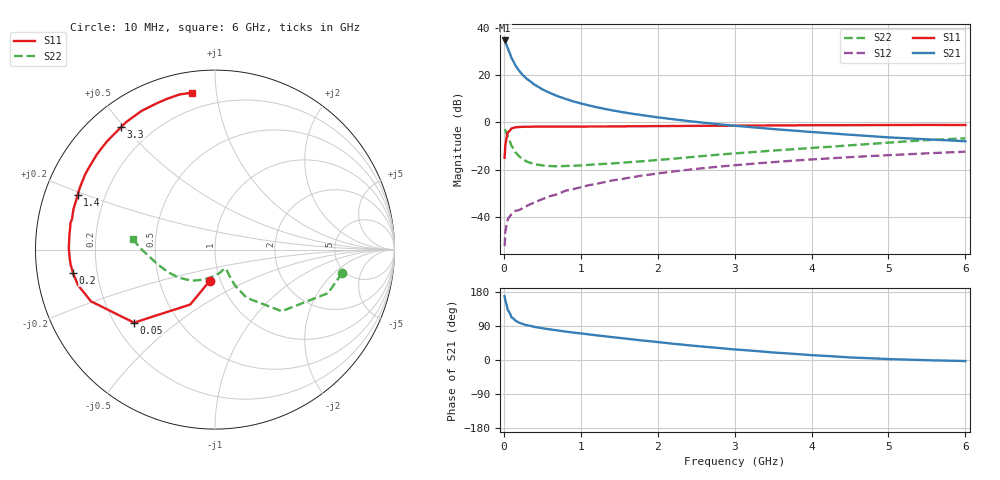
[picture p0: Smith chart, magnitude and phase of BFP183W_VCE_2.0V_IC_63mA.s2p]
! (c) 2017  Infineon Technologies AG, Munich
! Infineon Technologies  Discrete & RF Semiconductors
! BFP183W
! VCE =  2.0 V,  IC =  63 mA
! Common Emitter S-Parameters:  Jan 2017
# GHz  S  MA  R  50
!  f  S11  S21  S12  S22
! GHz  MAG  ANG  MAG  ANG  MAG  ANG  MAG  ANG
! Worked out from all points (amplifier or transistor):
!   77 points, 10 MHz to 6 GHz, reference 50 ohm
!   highest |S21| = 34.7 dB at 10 MHz (marker M1)
!   |S21| within 3 dB of that: start of sweep to 47.18 MHz
!   unconditionally stable (mu >= 1): start of sweep to 17.28 MHz; 230.1 MHz to end of sweep
!   at 130 MHz: K = 0.71, MSG = 31.8 dB, |S12| = -38.0 dB
!   at 2.2 GHz: K = 1.34, MAG = 7.5 dB, |S12| = -20.8 dB
!   at 6 GHz: K = 1.16, MAG = -0.2 dB, |S12| = -12.4 dB
!   S11 on the Smith chart (normalised r, x): 10 MHz: 0.89, -0.32; 50 MHz: 0.28, -0.36; 200 MHz: 0.11, -0.08; 1.4 GHz: 0.10, +0.19; 3.3 GHz: 0.09, +0.49; 6 GHz: 0.11, +0.86
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0.01  0.1787 -99.8  54.48 168.4  0.0024 76.5  0.7198 -10.5
0.02  0.3359 -114.3  51.43 156.5  0.0049 71.7  0.6748 -21.1
0.05  0.6072 -137.9  37.56 131.9  0.0088 51.1  0.5062 -42.7
0.1  0.7484 -157.3  23.1 112.6  0.0115 44.1  0.3215 -56.7
0.15  0.7888 -165.5  16.18 104.0  0.0134 42.8  0.2349 -60.6
0.2  0.8014 -170.5  12.33 98.4  0.014 44.5  0.1908 -61.4
0.25  0.8087 -174.1  9.954 94.6  0.0155 47.3  0.1647 -61.1
0.3  0.8111 -176.7  8.327 91.8  0.0172 50.5  0.1475 -60.7
0.4  0.8145 179.5  6.29 87.3  0.0203 55.6  0.1303 -60.5
0.5  0.8142 176.5  5.036 83.8  0.0237 59.2  0.1233 -60.8
0.6  0.8152 174.2  4.204 80.7  0.0275 62.0  0.1192 -62.2
0.7  0.8157 172.0  3.603 78.0  0.0302 64.1  0.1177 -63.6
0.9  0.8145 167.7  2.801 72.5  0.0387 67.2  0.121 -68.5
1.1  0.82 163.9  2.303 67.7  0.0467 68.4  0.1266 -73.5
1.4  0.8238 158.4  1.818 60.6  0.0588 68.6  0.1355 -82.2
1.7  0.8306 153.1  1.505 53.8  0.0705 67.9  0.1468 -91.4
2.1  0.8382 146.1  1.225 45.2  0.0873 66.3  0.1654 -104.2
3.1  0.8552 130.4  0.825 26.4  0.1281 59.6  0.2271 -132.4
3.3  0.8596 127.6  0.774 23.3  0.1363 58.2  0.2399 -137.4
4.1  0.8743 116.7  0.612 11.7  0.1684 52.0  0.2953 -156.2
5.1  0.8826 106.2  0.474 1.9  0.2067 43.8  0.3832 -176.4
6  0.8837 98.3  0.4 -2.8  0.2404 36.2  0.4612 172.6
